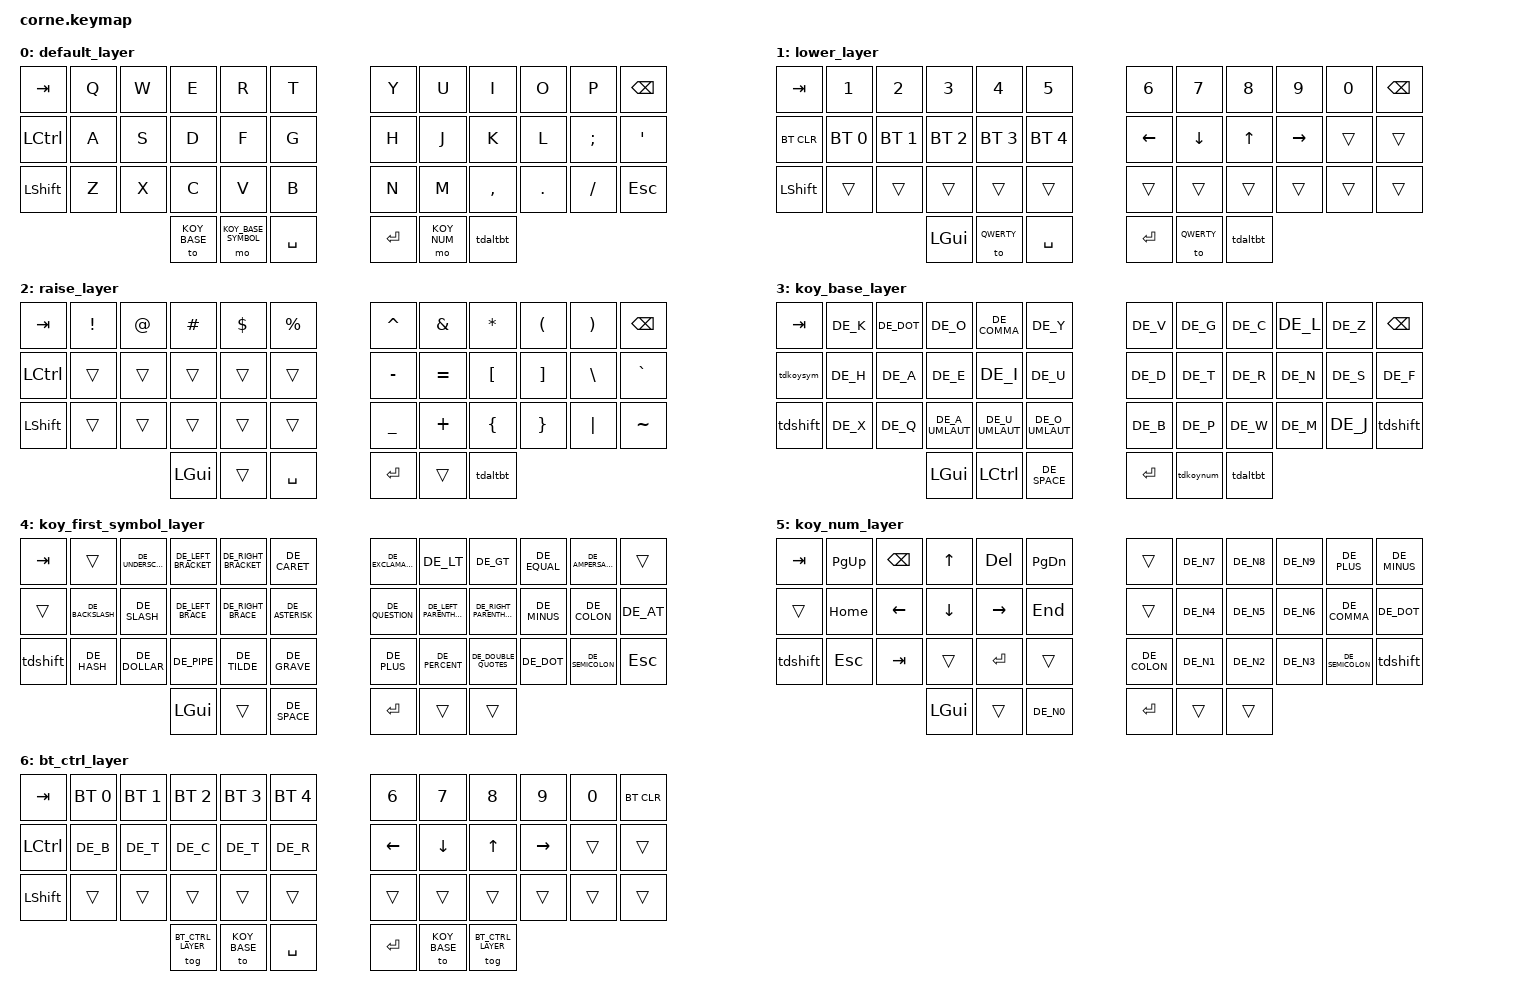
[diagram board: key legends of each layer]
/*
 * Copyright (c) 2020 The ZMK Contributors
 *
 * SPDX-License-Identifier: MIT
 */


/*

Notes/Todos

y an falscher stelle auf koy base layer
- untere leiste komplett um 1 verschoben glaube ich
- einfach y entfernen

koy sim nur auf einer seite zu haben ist etwas gewöhnungsbedürftig
- iwie wäre eine extra reihe bei dem pcb schon nice
- visualisierung auf welcher ebene ich bin wäre auch nice
  - vllt doch kleines display/leds holen?

ctrl und koysym tauschen auf der linken seite?
- näher an laptop layout

rechtes shift hat kein tapdance/sticky


*/

#include <behaviors.dtsi>
#include <dt-bindings/zmk/keys.h>
#include <dt-bindings/zmk/bt.h>
//#include <locale/keys_de.h>
#include "keys_de.h"

#define QWERTY 0
#define QWERTY_LWR 1
#define QWERTY_RAISE 2
#define KOY_BASE 3
#define KOY_BASE_SYMBOL 4
#define KOY_NUM 5
#define BT_CTRL_LAYER 6


//- brauche super key noch irgendwo -> gui 


// &sk for sticky keys
// stays pressed until another is released

&sk {

  release-after-ms = <1000>;
  quick-release;
  /delete-property/ ignore-modifiers;

};

&sl {
    release-after-ms = <2000>;
};


// maybe use tapdance to handle layers
//- one tap for nextkeypress and then go back
// 2 and hold for toggle layer
// 

/ {

      behaviors {
          tdshift: tap_dance_shift {
              compatible = "zmk,behavior-tap-dance";
              #binding-cells = <0>;
              tapping-term-ms = <200>;
              bindings = <&sk LSHIFT>, <&kp CAPS>;
          };
          tdkoynum: tap_dance_koynum {
              compatible = "zmk,behavior-tap-dance";
              #binding-cells = <0>;
              tapping-term-ms = <200>;
              bindings = <&sl KOY_NUM>, <&tog KOY_NUM>;
          };
          tdkoysym: tap_dance_koysym {
              compatible = "zmk,behavior-tap-dance";
              #binding-cells = <0>;
              tapping-term-ms = <200>;
              bindings = <&sl KOY_BASE_SYMBOL>, <&tog KOY_BASE_SYMBOL>;
          };

          tdaltbt: tap_dance_alt_bt {
              compatible = "zmk,behavior-tap-dance";
              #binding-cells = <0>;
              tapping-term-ms = <200>;
              bindings = <&sk LALT>, <&kp LALT>,<&tog BT_CTRL_LAYER>;
          };

      };

      keymap {
                compatible = "zmk,keymap";

                default_layer {
// -----------------------------------------------------------------------------------------
// |  TAB |  Q  |  W  |  E  |  R  |  T  |   |  Y  |  U   |  I  |  O  |  P  | BSPC |
// | CTRL |  A  |  S  |  D  |  F  |  G  |   |  H  |  J   |  K  |  L  |  ;  |  '   |
// | SHFT |  Z  |  X  |  C  |  V  |  B  |   |  N  |  M   |  ,  |  .  |  /  | ESC  |
//               | GUI | KOY_Sym | SPC |   | ENT | KOY_NUM  | ALT |
                        bindings = <
   &kp TAB   &kp Q &kp W &kp E &kp R &kp T   &kp Y &kp U  &kp I     &kp O   &kp P    &kp BSPC
   &kp LCTRL &kp A &kp S &kp D &kp F &kp G   &kp H &kp J  &kp K     &kp L   &kp SEMI &kp SQT
   &kp LSHFT &kp Z &kp X &kp C &kp V &kp B   &kp N &kp M  &kp COMMA &kp DOT &kp FSLH &kp ESC
                  &to KOY_BASE &mo KOY_BASE_SYMBOL &kp SPACE   &kp RET &mo KOY_NUM &tdaltbt
                        >;
                };
                lower_layer {
// -----------------------------------------------------------------------------------------
// |  TAB |  1  |  2  |  3  |  4  |  5  |   |  6  |  7  |  8  |  9  |  0  | BSPC |
// | BTCLR| BT1 | BT2 | BT3 | BT4 | BT5 |   | LFT | DWN |  UP | RGT |     |      |
// | SHFT |     |     |     |     |     |   |     |     |     |     |     |      |
//                    | GUI |     | SPC |   | ENT |     | ALT |
                        bindings = <
   &kp TAB    &kp N1       &kp N2       &kp N3       &kp N4       &kp N5         &kp N6   &kp N7   &kp N8 &kp N9    &kp N0 &kp BSPC
   &bt BT_CLR &bt BT_SEL 0 &bt BT_SEL 1 &bt BT_SEL 2 &bt BT_SEL 3 &bt BT_SEL 4   &kp LEFT &kp DOWN &kp UP &kp RIGHT &trans &trans
   &kp LSHFT  &trans       &trans       &trans       &trans       &trans         &trans   &trans   &trans &trans    &trans &trans
                                    &kp LGUI     &to QWERTY      &kp SPACE      &kp RET  &to QWERTY   &tdaltbt
                        >;
                };

                raise_layer {
// -----------------------------------------------------------------------------------------
// |  TAB |  !  |  @  |  #  |  $  |  %  |   |  ^  |  &  |  *  |  (  |  )  | BSPC |
// | CTRL |     |     |     |     |     |   |  -  |  =  |  [  |  ]  |  \  |  `   |
// | SHFT |     |     |     |     |     |   |  _  |  +  |  {  |  }  | "|" |  ~   |
//                    | GUI |     | SPC |   | ENT |     | ALT |
                        bindings = <
   &kp  TAB  &kp EXCL &kp AT &kp HASH &kp DLLR &kp PRCNT   &kp CARET &kp AMPS  &kp ASTRK &kp LPAR &kp RPAR &kp BSPC
   &kp LCTRL &trans   &trans &trans   &trans   &trans      &kp MINUS &kp EQUAL &kp LBKT  &kp RBKT &kp BSLH &kp GRAVE
   &kp LSHFT &trans   &trans &trans   &trans   &trans      &kp UNDER &kp PLUS  &kp LBRC  &kp RBRC &kp PIPE &kp TILDE
                             &kp LGUI &trans   &kp SPACE   &kp RET   &trans    &tdaltbt 
                        >;
                };


                koy_base_layer {
// -----------------------------------------------------------------------------------------
// |  TAB |  k  |  .  |  o  |  ,  |  y  |   |  v  |  g  |  c  |  l  |  ß das hier auf extra layer?  | z oder BSPC? |
// | td koy sym|  h   |  a  |  e  |  i  |  u   |   |  d  |  t  |  r  |  n  |  s  |  f   |
// | SHFT |  x  |  q   |  ä   |  ü  | ö |     |  b  |  p  |  w  | m |  j   |
//  layer  somewhere
//                    | GUI | CTRL | SPC |   | ENT | RSE | ALT |

                        bindings = <
   &kp  TAB  &kp DE_K  &kp DE_DOT  &kp DE_O &kp DE_COMMA &kp DE_Y &kp DE_V &kp DE_G &kp DE_C &kp DE_L &kp DE_Z &kp BSPC
   &tdkoysym &kp DE_H  &kp DE_A    &kp DE_E &kp DE_I     &kp DE_U &kp DE_D &kp DE_T &kp DE_R &kp DE_N &kp DE_S &kp DE_F
   &tdshift &kp DE_X    &kp DE_Q &kp DE_A_UMLAUT &kp DE_U_UMLAUT &kp DE_O_UMLAUT &kp DE_B &kp DE_P &kp DE_W &kp DE_M &kp DE_J &tdshift
             &kp LGUI &kp LCTRL &kp DE_SPACE   &kp RET   &tdkoynum   &tdaltbt 
                        >;
                };

                koy_first_symbol_layer {
// -----------------------------------------------------------------------------------------
// |  TAB |  ... /replace? |  _  |  [  |  ]  |  ^  |    |  !  |  <  |  >  |  =  |  &  | ſ replace? (ß maybe) |
// | CTRL |  \  |  /  |  {  |  }  |  *  |               |  ?  |  (   |  )  |  -  |  :  |  @   |
// | hold-tap SHFT |  #  |  $  |  "|"  |  ~  |  `  |    |  +  |  %  |  "  |  '  |  ; |  stuff  |
//           what to do here?| GUI | LWR | SPC |   | ENT | RSE  | ALT |

                        bindings = <
   &kp TAB   &trans &kp DE_UNDERSCORE &kp DE_LEFT_BRACKET &kp DE_RIGHT_BRACKET &kp DE_CARET &kp DE_EXCLAMATION &kp DE_LT  &kp DE_GT    &kp DE_EQUAL   &kp DE_AMPERSAND &trans  
   &trans &kp DE_BACKSLASH &kp DE_SLASH &kp DE_LEFT_BRACE &kp DE_RIGHT_BRACE &kp DE_ASTERISK &kp DE_QUESTION &kp DE_LEFT_PARENTHESIS  &kp DE_RIGHT_PARENTHESIS &kp DE_MINUS &kp DE_COLON &kp DE_AT
   &tdshift &kp DE_HASH &kp DE_DOLLAR &kp DE_PIPE &kp DE_TILDE &kp DE_GRAVE &kp DE_PLUS &kp DE_PERCENT &kp DE_DOUBLE_QUOTES &kp DE_DOT &kp DE_SEMICOLON &kp ESC
                  &kp LGUI &trans &kp DE_SPACE   &kp RET &trans &trans
                        >;
                };

                koy_num_layer {
// -----------------------------------------------------------------------------------------
// |  TAB |  k  |  .  |  o  |  ,  |  y  |   |  v  |  g  |  c  |  l  |  ß das hier auf extra layer?  | z oder BSPC? |
// | CTRL?|  h   |  a  |  e  |  i  |  u   |   |  d  |  t  |  r  |  n  |  s  |  f   |
// | SHFT |  x  |  q   |  ä   |  ü   |   |  ö  |  b  |  p  |  w  | m |  j   |
//  layer  somewhere
//                    | GUI | LWR | SPC |   | ENT | RSE | ALT |

                        bindings = <
   &kp  TAB  &kp PAGE_UP  &kp BSPC  &kp UP_ARROW  &kp DELETE &kp PAGE_DOWN  &trans &kp DE_N7 &kp DE_N8 &kp DE_N9 &kp DE_PLUS &kp DE_MINUS 
   &trans  &kp HOME  &kp LEFT_ARROW &kp DOWN_ARROW &kp RIGHT_ARROW &kp END &trans &kp DE_N4 &kp DE_N5 &kp DE_N6 &kp DE_COMMA &kp DE_DOT 
   &tdshift &kp ESC &kp TAB &trans &kp RET &trans &kp DE_COLON &kp DE_N1 &kp DE_N2 &kp DE_N3 &kp DE_SEMICOLON &tdshift
             &kp LGUI &trans  &kp DE_N0  &kp RET   &trans   &trans
                        >;
                };

                bt_ctrl_layer {
// -----------------------------------------------------------------------------------------
// |  TAB |  BT1 | BT2 | BT3 | BT4 | BT5 |  |  6  |  7  |  8  |  9  |  0  | BSPC |
// | LCTRL|  |  |  |  |  |   | LFT | DWN |  UP | RGT |     |      |
// | SHFT |     |     |     |     |     |   |     |     |     |     |     |      |
//                    | GUI |     | SPC |   | ENT |     | ALT |
                        bindings = <
   &kp TAB    &bt BT_SEL 0  &bt BT_SEL 1   &bt BT_SEL 2 &bt BT_SEL 3 &bt BT_SEL 4   &kp N6   &kp N7   &kp N8 &kp N9    &kp N0 &bt BT_CLR
   &kp LCTRL &kp DE_B &kp DE_T &kp DE_C &kp DE_T &kp DE_R   &kp LEFT &kp DOWN &kp UP &kp RIGHT &trans &trans
   &kp LSHFT  &trans       &trans       &trans       &trans       &trans         &trans   &trans   &trans &trans    &trans &trans
            &tog BT_CTRL_LAYER     &to KOY_BASE      &kp SPACE      &kp RET  &to KOY_BASE   &tog BT_CTRL_LAYER 
                        >;
                };
        };
};

